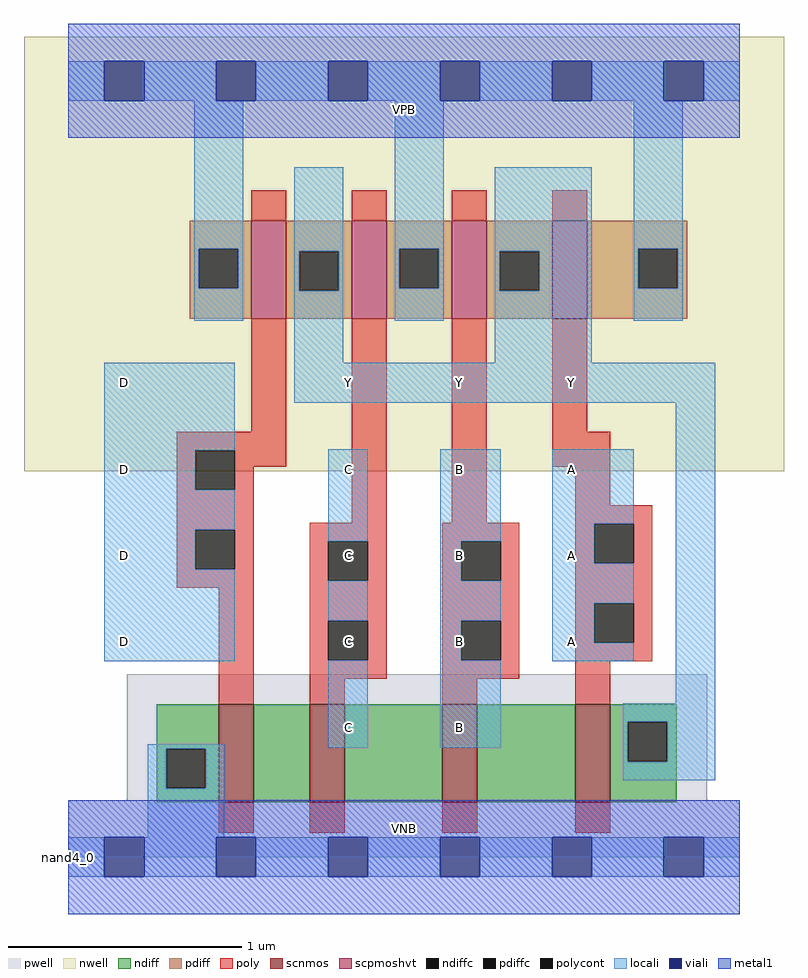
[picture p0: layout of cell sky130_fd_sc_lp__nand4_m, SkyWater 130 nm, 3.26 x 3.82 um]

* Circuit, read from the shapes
.subckt sky130_fd_sc_lp__nand4_m A B C D VGND VNB VPB VPWR Y
XM1 n1 D VGND VNB sky130_fd_pr__nfet_01v8 w=0.42 l=0.15
XM2 n2 C n1 VNB sky130_fd_pr__nfet_01v8 w=0.42 l=0.15
XM3 n3 B n2 VNB sky130_fd_pr__nfet_01v8 w=0.42 l=0.15
XM4 Y A n3 VNB sky130_fd_pr__nfet_01v8 w=0.42 l=0.15
XM5 Y D VPWR VPB sky130_fd_pr__pfet_01v8_hvt w=0.42 l=0.15
XM6 VPWR C Y VPB sky130_fd_pr__pfet_01v8_hvt w=0.42 l=0.15
XM7 Y B VPWR VPB sky130_fd_pr__pfet_01v8_hvt w=0.42 l=0.15
XM8 VPWR A Y VPB sky130_fd_pr__pfet_01v8_hvt w=0.42 l=0.15
.ends

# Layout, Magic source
magic
tech sky130A
magscale 1 2
<< nwell >>
rect -38 331 614 704
<< pwell >>
rect 50 49 548 157
rect 0 0 576 49
<< scnmos >>
rect 129 47 159 131
rect 207 47 237 131
rect 321 47 351 131
rect 435 47 465 131
<< scpmoshvt >>
rect 157 462 187 546
rect 243 462 273 546
rect 329 462 359 546
rect 415 462 445 546
<< ndiff >>
rect 76 93 129 131
rect 76 59 84 93
rect 118 59 129 93
rect 76 47 129 59
rect 159 47 207 131
rect 237 47 321 131
rect 351 47 435 131
rect 465 116 522 131
rect 465 82 480 116
rect 514 82 522 116
rect 465 47 522 82
<< pdiff >>
rect 104 522 157 546
rect 104 488 112 522
rect 146 488 157 522
rect 104 462 157 488
rect 187 520 243 546
rect 187 486 198 520
rect 232 486 243 520
rect 187 462 243 486
rect 273 522 329 546
rect 273 488 284 522
rect 318 488 329 522
rect 273 462 329 488
rect 359 520 415 546
rect 359 486 370 520
rect 404 486 415 520
rect 359 462 415 486
rect 445 522 531 546
rect 445 488 489 522
rect 523 488 531 522
rect 445 462 531 488
<< ndiffc >>
rect 84 59 118 93
rect 480 82 514 116
<< pdiffc >>
rect 112 488 146 522
rect 198 486 232 520
rect 284 488 318 522
rect 370 486 404 520
rect 489 488 523 522
<< poly >>
rect 157 546 187 572
rect 243 546 273 572
rect 329 546 359 572
rect 415 546 445 572
rect 157 365 187 462
rect 93 349 187 365
rect 93 315 109 349
rect 143 335 187 349
rect 143 315 159 335
rect 93 281 159 315
rect 243 287 273 462
rect 329 287 359 462
rect 415 365 445 462
rect 415 335 465 365
rect 435 302 465 335
rect 93 247 109 281
rect 143 247 159 281
rect 93 231 159 247
rect 129 131 159 231
rect 207 271 273 287
rect 207 237 223 271
rect 257 237 273 271
rect 207 203 273 237
rect 207 169 223 203
rect 257 169 273 203
rect 207 153 273 169
rect 321 271 387 287
rect 321 237 337 271
rect 371 237 387 271
rect 321 203 387 237
rect 321 169 337 203
rect 371 169 387 203
rect 321 153 387 169
rect 435 286 501 302
rect 435 252 451 286
rect 485 252 501 286
rect 435 218 501 252
rect 435 184 451 218
rect 485 184 501 218
rect 435 168 501 184
rect 207 131 237 153
rect 321 131 351 153
rect 435 131 465 168
rect 129 21 159 47
rect 207 21 237 47
rect 321 21 351 47
rect 435 21 465 47
<< polycont >>
rect 109 315 143 349
rect 109 247 143 281
rect 223 237 257 271
rect 223 169 257 203
rect 337 237 371 271
rect 337 169 371 203
rect 451 252 485 286
rect 451 184 485 218
<< locali >>
rect 0 649 31 683
rect 65 649 127 683
rect 161 649 223 683
rect 257 649 319 683
rect 353 649 415 683
rect 449 649 511 683
rect 545 649 576 683
rect 108 522 150 649
rect 108 488 112 522
rect 146 488 150 522
rect 108 460 150 488
rect 194 520 236 592
rect 194 486 198 520
rect 232 486 236 520
rect 194 424 236 486
rect 280 522 322 649
rect 280 488 284 522
rect 318 488 322 522
rect 280 460 322 488
rect 366 520 449 592
rect 366 486 370 520
rect 404 486 449 520
rect 366 424 449 486
rect 485 522 527 649
rect 485 488 489 522
rect 523 488 527 522
rect 485 460 527 488
rect 31 349 143 424
rect 194 390 555 424
rect 31 315 109 349
rect 31 281 143 315
rect 31 247 109 281
rect 31 168 143 247
rect 223 271 257 350
rect 223 203 257 237
rect 68 93 134 97
rect 223 94 257 169
rect 319 271 371 350
rect 319 237 337 271
rect 319 203 371 237
rect 319 169 337 203
rect 319 94 371 169
rect 415 286 485 350
rect 415 252 451 286
rect 415 218 485 252
rect 415 184 451 218
rect 415 168 485 184
rect 521 132 555 390
rect 476 116 555 132
rect 68 59 84 93
rect 118 59 134 93
rect 476 82 480 116
rect 514 82 555 116
rect 476 66 555 82
rect 68 17 134 59
rect 0 -17 31 17
rect 65 -17 127 17
rect 161 -17 223 17
rect 257 -17 319 17
rect 353 -17 415 17
rect 449 -17 511 17
rect 545 -17 576 17
<< viali >>
rect 31 649 65 683
rect 127 649 161 683
rect 223 649 257 683
rect 319 649 353 683
rect 415 649 449 683
rect 511 649 545 683
rect 31 -17 65 17
rect 127 -17 161 17
rect 223 -17 257 17
rect 319 -17 353 17
rect 415 -17 449 17
rect 511 -17 545 17
<< metal1 >>
rect 0 683 576 715
rect 0 649 31 683
rect 65 649 127 683
rect 161 649 223 683
rect 257 649 319 683
rect 353 649 415 683
rect 449 649 511 683
rect 545 649 576 683
rect 0 617 576 649
rect 0 17 576 49
rect 0 -17 31 17
rect 65 -17 127 17
rect 161 -17 223 17
rect 257 -17 319 17
rect 353 -17 415 17
rect 449 -17 511 17
rect 545 -17 576 17
rect 0 -49 576 -17
<< labels >>
flabel pwell s 0 0 576 49 0 FreeSans 200 0 0 0 VNB
port 6 nsew ground bidirectional
flabel nwell s 0 617 576 666 0 FreeSans 200 0 0 0 VPB
port 7 nsew power bidirectional
rlabel comment s 0 0 0 0 4 nand4_0
flabel metal1 s 0 617 576 666 0 FreeSans 340 0 0 0 VPWR
port 8 nsew power bidirectional
flabel metal1 s 0 0 576 49 0 FreeSans 340 0 0 0 VGND
port 5 nsew ground bidirectional
flabel locali s 415 168 449 202 0 FreeSans 340 0 0 0 A
port 1 nsew signal input
flabel locali s 415 242 449 276 0 FreeSans 340 0 0 0 A
port 1 nsew signal input
flabel locali s 415 316 449 350 0 FreeSans 340 0 0 0 A
port 1 nsew signal input
flabel locali s 319 94 353 128 0 FreeSans 340 0 0 0 B
port 2 nsew signal input
flabel locali s 319 168 353 202 0 FreeSans 340 0 0 0 B
port 2 nsew signal input
flabel locali s 319 242 353 276 0 FreeSans 340 0 0 0 B
port 2 nsew signal input
flabel locali s 319 316 353 350 0 FreeSans 340 0 0 0 B
port 2 nsew signal input
flabel locali s 223 94 257 128 0 FreeSans 340 0 0 0 C
port 3 nsew signal input
flabel locali s 223 168 257 202 0 FreeSans 340 0 0 0 C
port 3 nsew signal input
flabel locali s 223 242 257 276 0 FreeSans 340 0 0 0 C
port 3 nsew signal input
flabel locali s 223 316 257 350 0 FreeSans 340 0 0 0 C
port 3 nsew signal input
flabel locali s 31 168 65 202 0 FreeSans 340 0 0 0 D
port 4 nsew signal input
flabel locali s 31 242 65 276 0 FreeSans 340 0 0 0 D
port 4 nsew signal input
flabel locali s 31 316 65 350 0 FreeSans 340 0 0 0 D
port 4 nsew signal input
flabel locali s 31 390 65 424 0 FreeSans 340 0 0 0 D
port 4 nsew signal input
flabel locali s 223 390 257 424 0 FreeSans 340 0 0 0 Y
port 9 nsew signal output
flabel locali s 319 390 353 424 0 FreeSans 340 0 0 0 Y
port 9 nsew signal output
flabel locali s 415 390 449 424 0 FreeSans 340 0 0 0 Y
port 9 nsew signal output
<< properties >>
string LEFsite unit
string LEFclass CORE
string FIXED_BBOX 0 0 576 666
string GDS_FILE $PDKPATH/libs.ref/sky130_fd_sc_lp/gds/sky130_fd_sc_lp.gds
string LEFsymmetry X Y R90
string GDS_END 4594470
string GDS_START 4587932
<< end >>
